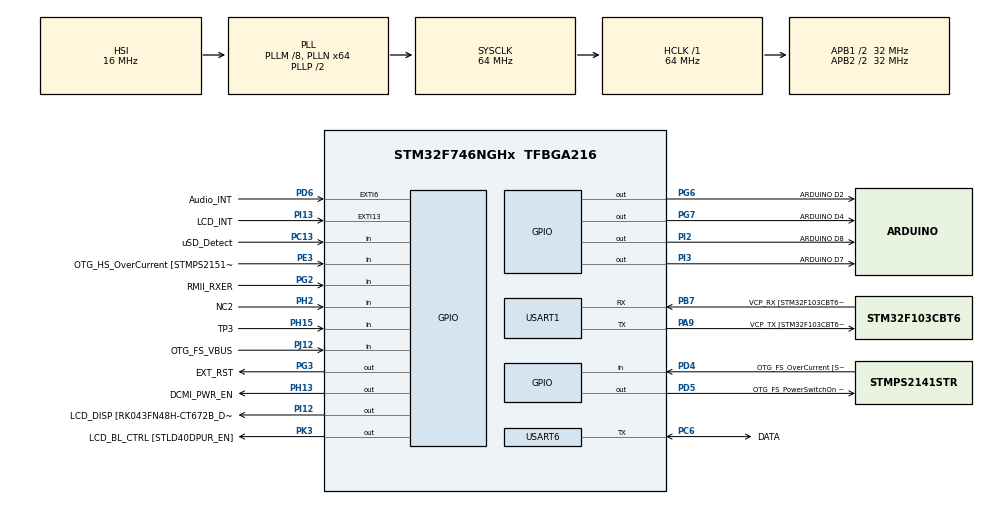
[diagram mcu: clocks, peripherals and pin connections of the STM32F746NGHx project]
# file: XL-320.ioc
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Mcu.Family=STM32F7
Mcu.Name=STM32F746NGHx
Mcu.Package=TFBGA216
NVIC.PriorityGroup=NVIC_PRIORITYGROUP_4
NVIC.USART6_IRQn=true\:0\:0\:false\:false\:true\:true\:true\:true
PA0/WKUP.GPIO_Label=ARDUINO A0
PA0/WKUP.GPIO_Mode=GPIO_MODE_ANALOG
PA0/WKUP.GPIO_PuPd=GPIO_NOPULL
PA0/WKUP.Signal=ADCx_IN0
PA1.GPIO_Label=RMII_REF_CLK [LAN8742A-CZ-TR_REFCLK0]
PA1.Signal=ETH_REF_CLK
PA10.GPIO_Label=OTG_FS_ID
PA10.Signal=USB_OTG_FS_ID
PA11.GPIO_Label=OTG_FS_N
PA11.Signal=USB_OTG_FS_DM
PA12.GPIO_Label=OTG_FS_P
PA12.Signal=USB_OTG_FS_DP
PA13.GPIO_Label=SWDIO
PA13.Mode=Serial_Wire
PA13.Signal=SYS_JTMS-SWDIO
PA14.GPIO_Label=SWCLK
PA14.Mode=Serial_Wire
PA14.Signal=SYS_JTCK-SWCLK
PA15.GPIO_Label=ARDUINO PWM/D9
PA15.GPIO_ModeDefaultPP=GPIO_MODE_AF_PP
PA15.GPIO_PuPd=GPIO_NOPULL
PA15.GPIO_Speed=GPIO_SPEED_FREQ_LOW
PA15.Signal=S_TIM2_CH1_ETR
PA2.GPIO_Label=RMII_MDIO [LAN8742A-CZ-TR_MDIO]
PA2.Signal=ETH_MDIO
PA3.GPIO_Label=ULPI_D0 [USB3320C-EZK_D0]
PA3.Signal=USB_OTG_HS_ULPI_D0
PA4.GPIO_Label=DCMI_HSYNC
PA4.Signal=DCMI_HSYNC
PA5.GPIO_Label=ULPI_CLK [USB3320C-EZK_CLKOUT]
PA5.Signal=USB_OTG_HS_ULPI_CK
PA6.Signal=DCMI_PIXCLK
PA7.GPIO_Label=RMII_CRS_DV [LAN8742A-CZ-TR_CRS_DV]
PA7.Signal=ETH_CRS_DV
PA8.GPIO_Label=ARDUINO PWM/D10
PA8.GPIO_ModeDefaultPP=GPIO_MODE_AF_PP
PA8.GPIO_PuPd=GPIO_NOPULL
PA8.GPIO_Speed=GPIO_SPEED_FREQ_LOW
PA8.Signal=S_TIM1_CH1
PA9.GPIO_Label=VCP_TX [STM32F103CBT6_PA3]
PA9.GPIO_Mode=GPIO_MODE_AF_PP
PA9.GPIO_PuPd=GPIO_NOPULL
PA9.GPIO_Speed=GPIO_SPEED_FREQ_LOW
PA9.Mode=Asynchronous
PA9.Signal=USART1_TX
PB0.GPIO_Label=ULPI_D1 [USB3320C-EZK_D1]
PB0.Signal=USB_OTG_HS_ULPI_D1
PB1.GPIO_Label=ULPI_D2 [USB3320C-EZK_D2]
PB1.Signal=USB_OTG_HS_ULPI_D2
PB10.GPIO_Label=ULPI_D3 [USB3320C-EZK_D3]
PB10.Signal=USB_OTG_HS_ULPI_D3
PB11.GPIO_Label=ULPI_D4 [USB3320C-EZK_D4]
PB11.Signal=USB_OTG_HS_ULPI_D4
PB12.GPIO_Label=ULPI_D5 [USB3320C-EZK_D5]
PB12.Signal=USB_OTG_HS_ULPI_D5
PB13.GPIO_Label=ULPI_D6 [USB3320C-EZK_D6]
PB13.Signal=USB_OTG_HS_ULPI_D6
PB14.GPIO_Label=ARDUINO MISO/D12
PB14.GPIO_Mode=GPIO_MODE_AF_PP
PB14.GPIO_PuPd=GPIO_NOPULL
PB14.GPIO_Speed=GPIO_SPEED_FREQ_LOW
PB14.Signal=SPI2_MISO
PB15.GPIO_Label=ARDUINO MOSI/PWM/D11
PB15.GPIO_Mode=GPIO_MODE_AF_PP
PB15.GPIO_PuPd=GPIO_NOPULL
PB15.GPIO_Speed=GPIO_SPEED_FREQ_LOW
PB15.Signal=SPI2_MOSI
PB2.Signal=QUADSPI_CLK
PB3.GPIO_Label=SWO
PB3.Signal=SYS_JTDO-SWO
PB4.GPIO_Label=ARDUINO PWM/D3
PB4.GPIO_ModeDefaultPP=GPIO_MODE_AF_PP
PB4.GPIO_PuPd=GPIO_NOPULL
PB4.GPIO_Speed=GPIO_SPEED_FREQ_LOW
PB4.Signal=S_TIM3_CH1
PB5.GPIO_Label=ULPI_D7 [USB3320C-EZK_D7]
PB5.Signal=USB_OTG_HS_ULPI_D7
PB6.GPIO_Label=QSPI_NCS [N25Q128A13EF840E_S]
PB6.Signal=QUADSPI_BK1_NCS
PB7.GPIO_Label=VCP_RX [STM32F103CBT6_PA2]
PB7.GPIO_Mode=GPIO_MODE_AF_PP
PB7.GPIO_PuPd=GPIO_NOPULL
PB7.GPIO_Speed=GPIO_SPEED_FREQ_LOW
PB7.Mode=Asynchronous
PB7.Signal=USART1_RX
PB8.GPIO_Label=ARDUINO SCL/D15
PB8.GPIO_Mode=GPIO_MODE_AF_OD
PB8.GPIO_PuPd=GPIO_NOPULL
PB8.GPIO_Speed=GPIO_SPEED_FREQ_LOW
PB8.Signal=I2C1_SCL
PB9.GPIO_Label=ARDUINO SDA/D14
PB9.GPIO_Mode=GPIO_MODE_AF_OD
PB9.GPIO_PuPd=GPIO_NOPULL
PB9.GPIO_Speed=GPIO_SPEED_FREQ_LOW
PB9.Signal=I2C1_SDA
PC0.GPIO_Label=ULPI_STP [USB3320C-EZK_STP]
PC0.Signal=USB_OTG_HS_ULPI_STP
PC1.GPIO_Label=RMII_MDC [LAN8742A-CZ-TR_MDC]
PC1.Signal=ETH_MDC
PC10.GPIO_Label=SDMMC_D2
PC10.Signal=SDMMC1_D2
PC11.GPIO_Label=SDMMC_D3
PC11.Signal=SDMMC1_D3
PC12.GPIO_Label=SDMMC_CK
PC12.Signal=SDMMC1_CK
PC13.GPIO_Label=uSD_Detect
PC13.Signal=GPIO_Input
PC14/OSC32_IN.GPIO_Label=RCC_OSC32_IN
PC14/OSC32_IN.Signal=RCC_OSC32_IN
PC15/OSC32_OUT.GPIO_Label=RCC_OSC32_OUT
PC15/OSC32_OUT.Signal=RCC_OSC32_OUT
PC2.GPIO_Label=ULPI_DIR [USB3320C-EZK_DIR]
PC2.Signal=USB_OTG_HS_ULPI_DIR
PC3.GPIO_Label=FMC_SDCKE0 [MT48LC4M32B2B5-6A_CKE]
PC3.Signal=FMC_SDCKE0
PC4.GPIO_Label=RMII_RXD0 [LAN8742A-CZ-TR_RXD0]
PC4.Signal=ETH_RXD0
PC5.GPIO_Label=RMII_RXD1 [LAN8742A-CZ-TR_RXD1]
PC5.Signal=ETH_RXD1
PC6.GPIO_Label=DATA
PC6.GPIO_ModeDefaultOD=GPIO_MODE_AF_PP
PC6.GPIO_PuPd=GPIO_NOPULL
PC6.Mode=Half_duplex(single_wire_mode)
PC6.Signal=USART6_TX
PC7.GPIO_Label=ARDUINO RX/D0
PC7.Signal=USART6_RX
PC8.Signal=SDMMC1_D0
PC9.Signal=SDMMC1_D1
PD0.GPIO_Label=FMC_D2 [MT48LC4M32B2B5-6A_DQ2]
PD0.Signal=FMC_D2_DA2
PD1.GPIO_Label=FMC_D3 [MT48LC4M32B2B5-6A_DQ3]
PD1.Signal=FMC_D3_DA3
PD10.GPIO_Label=FMC_D15 [MT48LC4M32B2B5-6A_DQ15]
PD10.Signal=FMC_D15_DA15
PD11.GPIO_Label=QSPI_D0 [N25Q128A13EF840E_DQ0]
PD11.Signal=QUADSPI_BK1_IO0
PD12.GPIO_Label=QSPI_D1 [N25Q128A13EF840E_DQ1]
PD12.Signal=QUADSPI_BK1_IO1
PD13.GPIO_Label=QSPI_D3 [N25Q128A13EF840E_DQ3]
PD13.Signal=QUADSPI_BK1_IO3
PD14.GPIO_Label=FMC_D0 [MT48LC4M32B2B5-6A_DQ0]
PD14.Signal=FMC_D0_DA0
PD15.GPIO_Label=FMC_D1 [MT48LC4M32B2B5-6A_DQ1]
PD15.Signal=FMC_D1_DA1
PD2.GPIO_Label=SDMMC_D0
PD2.Signal=SDMMC1_CMD
PD3.GPIO_Label=DCMI_D5
PD3.Signal=DCMI_D5
PD4.GPIO_Label=OTG_FS_OverCurrent [STMPS2141STR_Fault]
PD4.Signal=GPIO_Input
PD5.GPIO_Label=OTG_FS_PowerSwitchOn [STMPS2141STR_EN]
PD5.PinState=GPIO_PIN_SET
PD5.Signal=GPIO_Output
PD6.GPIO_Label=Audio_INT
PD6.GPIO_ModeDefaultEXTI=GPIO_MODE_EVT_RISING
PD6.Signal=GPXTI6
PD7.GPIO_Label=SPDIF_RX0 [74LVC1G04SE_4]
PD7.Signal=SPDIFRX_IN0
PD8.GPIO_Label=FMC_D13 [MT48LC4M32B2B5-6A_DQ13]
PD8.Signal=FMC_D13_DA13
PD9.GPIO_Label=FMC_D14 [MT48LC4M32B2B5-6A_DQ14]
PD9.Signal=FMC_D14_DA14
PE0.GPIO_Label=FMC_NBL0 [MT48LC4M32B2B5-6A_DQM0]
PE0.Signal=FMC_NBL0
PE1.GPIO_Label=FMC_NBL1 [MT48LC4M32B2B5-6A_DQM1]
PE1.Signal=FMC_NBL1
PE10.GPIO_Label=FMC_D7 [MT48LC4M32B2B5-6A_DQ7]
PE10.Signal=FMC_D7_DA7
PE11.GPIO_Label=FMC_D8 [MT48LC4M32B2B5-6A_DQ8]
PE11.Signal=FMC_D8_DA8
PE12.GPIO_Label=FMC_D9 [MT48LC4M32B2B5-6A_DQ9]
PE12.Signal=FMC_D9_DA9
PE13.GPIO_Label=FMC_D10 [MT48LC4M32B2B5-6A_DQ10]
PE13.Signal=FMC_D10_DA10
PE14.GPIO_Label=FMC_D11 [MT48LC4M32B2B5-6A_DQ11]
PE14.Signal=FMC_D11_DA11
PE15.GPIO_Label=FMC_D12 [MT48LC4M32B2B5-6A_DQ12]
PE15.Signal=FMC_D12_DA12
PE2.GPIO_Label=QSPI_D2 [N25Q128A13EF840E_DQ2]
PE2.Signal=QUADSPI_BK1_IO2
PE3.GPIO_Label=OTG_HS_OverCurrent [STMPS2151STR_FAULT]
PE3.Signal=GPIO_Input
PE4.GPIO_Label=LCD_B0 [RK043FN48H-CT672B_B0]
PE4.Signal=LTDC_B0
PE5.GPIO_Label=DCMI_D6
PE5.Signal=DCMI_D6
PE6.GPIO_Label=DCMI_D7
PE6.Signal=DCMI_D7
PE7.GPIO_Label=FMC_D4 [MT48LC4M32B2B5-6A_DQ4]
PE7.Signal=FMC_D4_DA4
PE8.GPIO_Label=FMC_D5 [MT48LC4M32B2B5-6A_DQ5]
PE8.Signal=FMC_D5_DA5
PE9.GPIO_Label=FMC_D6 [MT48LC4M32B2B5-6A_DQ6]
PE9.Signal=FMC_D6_DA6
PF0.GPIO_Label=FMC_A0 [MT48LC4M32B2B5-6A_A0]
PF0.Signal=FMC_A0
PF1.GPIO_Label=FMC_A1 [MT48LC4M32B2B5-6A_A1]
PF1.Signal=FMC_A1
PF10.GPIO_Label=ARDUINO A1
PF10.GPIO_Mode=GPIO_MODE_ANALOG
PF10.GPIO_PuPd=GPIO_NOPULL
PF10.Signal=ADC3_IN8
PF11.GPIO_Label=FMC_SDNRAS [MT48LC4M32B2B5-6A_RAS]
PF11.Signal=FMC_SDNRAS
PF12.GPIO_Label=FMC_A6 [MT48LC4M32B2B5-6A_A6]
PF12.Signal=FMC_A6
PF13.GPIO_Label=FMC_A7 [MT48LC4M32B2B5-6A_A7]
PF13.Signal=FMC_A7
PF14.GPIO_Label=FMC_A8 [MT48LC4M32B2B5-6A_A8]
PF14.Signal=FMC_A8
PF15.GPIO_Label=FMC_A9 [MT48LC4M32B2B5-6A_A9]
PF15.Signal=FMC_A9
PF2.GPIO_Label=FMC_A2 [MT48LC4M32B2B5-6A_A2]
PF2.Signal=FMC_A2
PF3.GPIO_Label=FMC_A3 [MT48LC4M32B2B5-6A_A3]
PF3.Signal=FMC_A3
PF4.GPIO_Label=FMC_A4 [MT48LC4M32B2B5-6A_A4]
PF4.Signal=FMC_A4
PF5.GPIO_Label=FMC_A5 [MT48LC4M32B2B5-6A_A5]
PF5.Signal=FMC_A5
PF6.GPIO_Label=ARDUINO A5
PF6.GPIO_Mode=GPIO_MODE_ANALOG
PF6.GPIO_PuPd=GPIO_NOPULL
PF6.Signal=ADC3_IN4
PF7.GPIO_Label=ARDUINO A4
PF7.GPIO_Mode=GPIO_MODE_ANALOG
PF7.GPIO_PuPd=GPIO_NOPULL
PF7.Signal=ADC3_IN5
PF8.GPIO_Label=ARDUINO A3
PF8.GPIO_Mode=GPIO_MODE_ANALOG
PF8.GPIO_PuPd=GPIO_NOPULL
PF8.Signal=ADC3_IN6
PF9.GPIO_Label=ARDUINO A2
PF9.GPIO_Mode=GPIO_MODE_ANALOG
PF9.GPIO_PuPd=GPIO_NOPULL
PF9.Signal=ADC3_IN7
PG0.GPIO_Label=FMC_A10 [MT48LC4M32B2B5-6A_A10]
PG0.Signal=FMC_A10
PG1.GPIO_Label=FMC_A11 [MT48LC4M32B2B5-6A_A11]
PG1.Signal=FMC_A11
PG10.GPIO_Label=SAI2_SDB [WM8994ECS/R_ADCDAT1]
PG10.Signal=SAI2_SD_B
PG11.GPIO_Label=RMII_TX_EN [LAN8742A-CZ-TR_TXEN]
PG11.Signal=ETH_TX_EN
PG12.GPIO_Label=LCD_B4 [RK043FN48H-CT672B_B4]
PG12.Signal=LTDC_B4
PG13.GPIO_Label=RMII_TXD0 [LAN8742A-CZ-TR_TXD0]
PG13.Signal=ETH_TXD0
PG14.GPIO_Label=RMII_TXD1 [LAN8742A-CZ-TR_TXD1]
PG14.Signal=ETH_TXD1
PG15.GPIO_Label=FMC_SDNCAS [MT48LC4M32B2B5-6A_CAS]
PG15.Signal=FMC_SDNCAS
PG2.GPIO_Label=RMII_RXER
PG2.Signal=GPIO_Input
PG3.GPIO_Label=EXT_RST
PG3.Signal=GPIO_Output
PG4.GPIO_Label=FMC_BA0 [MT48LC4M32B2B5-6A_BA0]
PG4.Signal=FMC_A14_BA0
PG5.GPIO_Label=FMC_BA1 [MT48LC4M32B2B5-6A_BA1]
PG5.Signal=FMC_A15_BA1
PG6.GPIO_Label=ARDUINO D2
PG6.Signal=GPIO_Output
PG7.GPIO_Label=ARDUINO D4
PG7.Signal=GPIO_Output
PG8.GPIO_Label=FMC_SDCLK [MT48LC4M32B2B5-6A_CLK]
PG8.Signal=FMC_SDCLK
PG9.GPIO_Label=DCMI_VSYNC
PG9.Signal=DCMI_VSYNC
PH0/OSC_IN.GPIO_Label=OSC_25M [NZ2520SB-25.00M_OUT]
PH0/OSC_IN.Mode=HSE-External-Oscillator
PH0/OSC_IN.Signal=RCC_OSC_IN
PH1/OSC_OUT.Mode=HSE-External-Oscillator
PH1/OSC_OUT.Signal=RCC_OSC_OUT
PH10.GPIO_Label=DCMI_D1
PH10.Signal=DCMI_D1
PH11.GPIO_Label=DCMI_D2
PH11.Signal=DCMI_D2
PH12.GPIO_Label=DCMI_D3
PH12.Signal=DCMI_D3
PH13.GPIO_Label=DCMI_PWR_EN
PH13.Signal=GPIO_Output
PH14.GPIO_Label=DCMI_D4
PH14.Signal=DCMI_D4
PH15.GPIO_Label=TP3
PH15.Signal=GPIO_Input
PH2.GPIO_Label=NC2
PH2.Signal=GPIO_Input
PH3.GPIO_Label=FMC_SDNE0 [MT48LC4M32B2B5-6A_CS]
PH3.Signal=FMC_SDNE0
PH4.GPIO_Label=ULPI_NXT [USB3320C-EZK_NXT]
PH4.Signal=USB_OTG_HS_ULPI_NXT
PH5.GPIO_Label=FMC_SDNME [MT48LC4M32B2B5-6A_WE]
PH5.Signal=FMC_SDNWE
PH6.GPIO_Label=ARDUINO PWM/D6
PH6.Signal=S_TIM12_CH1
PH7.GPIO_Label=LCD_SCL [RK043FN48H-CT672B_SCL]
PH7.Signal=I2C3_SCL
PH8.GPIO_Label=LCD_SDA [RK043FN48H-CT672B_SDA]
PH8.Signal=I2C3_SDA
PH9.GPIO_Label=DCMI_D0
PH9.Signal=DCMI_D0
PI0.GPIO_Label=ARDUINO PWM/CS/D5
PI0.GPIO_ModeDefaultPP=GPIO_MODE_AF_PP
PI0.GPIO_PuPd=GPIO_NOPULL
PI0.GPIO_Speed=GPIO_SPEED_FREQ_LOW
PI0.Signal=S_TIM5_CH4
PI1.GPIO_Label=ARDUINO SCK/D13
PI1.GPIO_Mode=GPIO_MODE_AF_PP
PI1.GPIO_PuPd=GPIO_NOPULL
PI1.GPIO_Speed=GPIO_SPEED_FREQ_LOW
PI1.Signal=SPI2_SCK
PI10.GPIO_Label=LCD_HSYNC [RK043FN48H-CT672B_HSYNC]
PI10.Signal=LTDC_HSYNC
PI12.GPIO_Label=LCD_DISP [RK043FN48H-CT672B_DISP] 
PI12.Signal=GPIO_Output
PI13.GPIO_Label=LCD_INT
PI13.GPIO_ModeDefaultEXTI=GPIO_MODE_EVT_RISING
PI13.Signal=GPXTI13
PI14.GPIO_Label=LCD_CLK [RK043FN48H-CT672B_CLK]
PI14.Signal=LTDC_CLK
PI15.GPIO_Label=LCD_R0 [RK043FN48H-CT672B_R0]
PI15.Signal=LTDC_R0
PI2.GPIO_Label=ARDUINO D8
PI2.Signal=GPIO_Output
PI3.GPIO_Label=ARDUINO D7
PI3.Signal=GPIO_Output
PI4.GPIO_Label=SAI2_MCLKA [WM8994ECS/R_MCLK1]
PI4.Signal=SAI2_MCLK_A
PI5.GPIO_Label=SAI2_SCKA [WM8994ECS/R_BCLK1]
PI5.Signal=SAI2_SCK_A
PI6.GPIO_Label=SAI2_SDA [WM8994ECS/R_DACDAT1]
PI6.Signal=SAI2_SD_A
PI7.GPIO_Label=SAI2_FSA [WM8994ECS/R_LRCLK1]
PI7.Signal=SAI2_FS_A
PI8.GPIO_Label=NC1 [TP2]
PI8.Signal=RTC_TS
PI9.GPIO_Label=LCD_VSYNC [RK043FN48H-CT672B_VSYNC]
PI9.Signal=LTDC_VSYNC
PJ0.GPIO_Label=LCD_R1 [RK043FN48H-CT672B_R1]
PJ0.Signal=LTDC_R1
PJ1.GPIO_Label=LCD_R2 [RK043FN48H-CT672B_R2]
PJ1.Signal=LTDC_R2
PJ10.GPIO_Label=LCD_G3 [RK043FN48H-CT672B_G3]
PJ10.Signal=LTDC_G3
PJ11.GPIO_Label=LCD_G4 [RK043FN48H-CT672B_G4]
PJ11.Signal=LTDC_G4
PJ12.GPIO_Label=OTG_FS_VBUS
PJ12.Signal=GPIO_Input
PJ13.GPIO_Label=LCD_B1 [RK043FN48H-CT672B_B1]
PJ13.Signal=LTDC_B1
PJ14.GPIO_Label=LCD_B2 [RK043FN48H-CT672B_B2]
PJ14.Signal=LTDC_B2
PJ15.GPIO_Label=LCD_B3 [RK043FN48H-CT672B_B3]
PJ15.Signal=LTDC_B3
PJ2.GPIO_Label=LCD_R3 [RK043FN48H-CT672B_R3]
PJ2.Signal=LTDC_R3
PJ3.GPIO_Label=LCD_R4 [RK043FN48H-CT672B_R4]
PJ3.Signal=LTDC_R4
PJ4.GPIO_Label=LCD_R5 [RK043FN48H-CT672B_R5]
PJ4.Signal=LTDC_R5
PJ5.GPIO_Label=LCD_R6 [RK043FN48H-CT672B_R6]
PJ5.Signal=LTDC_R6
PJ6.GPIO_Label=LCD_R7 [RK043FN48H-CT672B_R7]
PJ6.Signal=LTDC_R7
PJ7.GPIO_Label=LCD_G0 [RK043FN48H-CT672B_G0]
PJ7.Signal=LTDC_G0
PJ8.GPIO_Label=LCD_G1 [RK043FN48H-CT672B_G1]
PJ8.Signal=LTDC_G1
PJ9.GPIO_Label=LCD_G2 [RK043FN48H-CT672B_G2]
PJ9.Signal=LTDC_G2
PK0.GPIO_Label=LCD_G5 [RK043FN48H-CT672B_G5]
PK0.Signal=LTDC_G5
PK1.GPIO_Label=LCD_G6 [RK043FN48H-CT672B_G6]
PK1.Signal=LTDC_G6
PK2.GPIO_Label=LCD_G7 [RK043FN48H-CT672B_G7]
PK2.Signal=LTDC_G7
PK3.GPIO_Label=LCD_BL_CTRL [STLD40DPUR_EN]
PK3.Signal=GPIO_Output
PK4.GPIO_Label=LCD_B5 [RK043FN48H-CT672B_B5]
PK4.Signal=LTDC_B5
PK5.GPIO_Label=LCD_B6 [RK043FN48H-CT672B_B6]
PK5.Signal=LTDC_B6
PK6.GPIO_Label=LCD_B7 [RK043FN48H-CT672B_B7]
PK6.Signal=LTDC_B7
PK7.GPIO_Label=LCD_DE [RK043FN48H-CT672B_DE]
PK7.Signal=LTDC_DE
ProjectManager.HeapSize=0x200
ProjectManager.StackSize=0x400
ProjectManager.TargetToolchain=STM32CubeIDE
RCC.AHBFreq_Value=64000000
RCC.APB1CLKDivider=RCC_HCLK_DIV2
RCC.APB1Freq_Value=32000000
RCC.APB1TimFreq_Value=64000000
RCC.APB2CLKDivider=RCC_HCLK_DIV2
RCC.APB2Freq_Value=32000000
RCC.APB2TimFreq_Value=64000000
RCC.CortexFreq_Value=64000000
RCC.HCLKFreq_Value=64000000
RCC.HSE_VALUE=25000000
RCC.HSI_VALUE=16000000
RCC.LSE_VALUE=32768
RCC.PLLM=8
RCC.PLLN=64
RCC.PLLSourceVirtual=RCC_PLLSOURCE_HSI
RCC.SYSCLKFreq_VALUE=64000000
RCC.SYSCLKSource=RCC_SYSCLKSOURCE_PLLCLK
RCC.USBFreq_Value=64000000
RCC.VCOOutputFreq_Value=128000000
SH.ADCx_IN0.0=ADC3_IN0
SH.FMC_A0.0=FMC_A0
SH.FMC_A1.0=FMC_A1
SH.FMC_A10.0=FMC_A10
SH.FMC_A11.0=FMC_A11
SH.FMC_A14_BA0.0=FMC_BA0
SH.FMC_A15_BA1.0=FMC_BA1
SH.FMC_A2.0=FMC_A2
SH.FMC_A3.0=FMC_A3
SH.FMC_A4.0=FMC_A4
SH.FMC_A5.0=FMC_A5
SH.FMC_A6.0=FMC_A6
SH.FMC_A7.0=FMC_A7
SH.FMC_A8.0=FMC_A8
SH.FMC_A9.0=FMC_A9
SH.FMC_D0_DA0.0=FMC_D0
SH.FMC_D10_DA10.0=FMC_D10
SH.FMC_D11_DA11.0=FMC_D11
SH.FMC_D12_DA12.0=FMC_D12
SH.FMC_D13_DA13.0=FMC_D13
SH.FMC_D14_DA14.0=FMC_D14
SH.FMC_D15_DA15.0=FMC_D15
SH.FMC_D1_DA1.0=FMC_D1
SH.FMC_D2_DA2.0=FMC_D2
SH.FMC_D3_DA3.0=FMC_D3
SH.FMC_D4_DA4.0=FMC_D4
SH.FMC_D5_DA5.0=FMC_D5
SH.FMC_D6_DA6.0=FMC_D6
SH.FMC_D7_DA7.0=FMC_D7
SH.FMC_D8_DA8.0=FMC_D8
SH.FMC_D9_DA9.0=FMC_D9
SH.FMC_NBL0.0=FMC_NBL0
SH.FMC_NBL1.0=FMC_NBL1
SH.FMC_SDCLK.0=FMC_SDCLK
SH.FMC_SDNCAS.0=FMC_SDNCAS
SH.FMC_SDNRAS.0=FMC_SDNRAS
SH.FMC_SDNWE.0=FMC_SDNWE
SH.S_TIM12_CH1.0=TIM12_CH1
SH.S_TIM1_CH1.0=TIM1_CH1
SH.S_TIM2_CH1_ETR.0=TIM2_CH1
SH.S_TIM3_CH1.0=TIM3_CH1
SH.S_TIM5_CH4.0=TIM5_CH4
USART1.VirtualMode-Asynchronous=VM_ASYNC
USART6.BaudRate=1000000
USART6.VirtualMode-Half_duplex(single_wire_mode)=VM_ASYNC
board=STM32F746G-DISCO

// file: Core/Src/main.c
/* USER CODE BEGIN Header */
/**
 ******************************************************************************
 * @file           : main.c
 * @brief          : Main program body
 ******************************************************************************
 * @attention
 *
 * Copyright (c) 2022 STMicroelectronics.
 * All rights reserved.
 *
 * This software is licensed under terms that can be found in the LICENSE file
 * in the root directory of this software component.
 * If no LICENSE file comes with this software, it is provided AS-IS.
 *
 ******************************************************************************
 */
/* USER CODE END Header */
#include "main.h"
#include "usart.h"
#include "gpio.h"

/* USER CODE BEGIN Includes */
#include "XL_320.h"
/* USER CODE END Includes */

/* USER CODE BEGIN PV */
uint8_t buffer[BUFFER_LENGTH] = {0};
uint16_t buffer_index = 0;
uint8_t Rx_char;
uint8_t Message[64];
uint8_t MessageLen;
extern uint8_t RxBuffer[BUFFER_LENGTH];
int error_number=0;
int callback_number=0;
uint8_t Receive_length=0;
/* USER CODE END PV */

void SystemClock_Config(void);

int main(void)
{

	/* MCU Configuration--------------------------------------------------------*/

	/* Reset of all peripherals, Initializes the Flash interface and the Systick. */
	HAL_Init();

	/* Configure the system clock */
	SystemClock_Config();

	/* Initialize all configured peripherals */
	MX_GPIO_Init();
	MX_USART1_UART_Init();
	MX_USART6_UART_Init();
	/* USER CODE BEGIN 2 */

	uint16_t model_number=0;
	uint8_t firmware_version=0;
	//XL_320_set_torque_enable(0x01, 0);

	if(XL_320_ping(0x01,&model_number,&firmware_version)==1)
	{
		MessageLen = sprintf ((char *) Message, "model_number= 0x%04x \r\n", model_number);
		HAL_UART_Transmit (&huart1, Message, MessageLen, 100);
		MessageLen = sprintf ((char *) Message, "firmware_version= 0x%04x \r\n", firmware_version);
		HAL_UART_Transmit (&huart1, Message, MessageLen, 100);
	}

	//XL_320_set_torque_enable(0x01, 0);
	//XL_320_set_baudrate(0x01, Br_115200);
	XL_320_set_torque_enable(0x01, 1);
	HAL_Delay(100);
	XL_320_set_speed_position(0x01, 300);
	HAL_Delay(100);
	int position;

	/* USER CODE END 2 */

	/* Infinite loop */
	/* USER CODE BEGIN WHILE */
	while (1)00
	{

		XL_320_set_goal_position(0x01, 0);
		HAL_Delay(2000);
		position=XL_320_read_present_position(0x01);
		printf("Current position is %d \r\n",position);
		HAL_Delay(100);
		XL_320_set_goal_position(0x01, 512);
		HAL_Delay(2000);
		position=XL_320_read_present_position(0x01);
		printf("Current position is %d \r\n",position);
		HAL_Delay(100);

		/* USER CODE END WHILE */

	}
}

void SystemClock_Config(void)
{
	RCC_OscInitTypeDef RCC_OscInitStruct = {0};
	RCC_ClkInitTypeDef RCC_ClkInitStruct = {0};

	/** Configure the main internal regulator output voltage
	 */
	__HAL_RCC_PWR_CLK_ENABLE();
	__HAL_PWR_VOLTAGESCALING_CONFIG(PWR_REGULATOR_VOLTAGE_SCALE3);
	/** Initializes the RCC Oscillators according to the specified parameters
	 * in the RCC_OscInitTypeDef structure.
	 */
	RCC_OscInitStruct.OscillatorType = RCC_OSCILLATORTYPE_HSI;
	RCC_OscInitStruct.HSIState = RCC_HSI_ON;
	RCC_OscInitStruct.HSICalibrationValue = RCC_HSICALIBRATION_DEFAULT;
	RCC_OscInitStruct.PLL.PLLState = RCC_PLL_ON;
	RCC_OscInitStruct.PLL.PLLSource = RCC_PLLSOURCE_HSI;
	RCC_OscInitStruct.PLL.PLLM = 8;
	RCC_OscInitStruct.PLL.PLLN = 64;
	RCC_OscInitStruct.PLL.PLLP = RCC_PLLP_DIV2;
	RCC_OscInitStruct.PLL.PLLQ = 2;
	if (HAL_RCC_OscConfig(&RCC_OscInitStruct) != HAL_OK)
	{
		Error_Handler();
	}
	/** Initializes the CPU, AHB and APB buses clocks
	 */
	RCC_ClkInitStruct.ClockType = RCC_CLOCKTYPE_HCLK|RCC_CLOCKTYPE_SYSCLK
			|RCC_CLOCKTYPE_PCLK1|RCC_CLOCKTYPE_PCLK2;
	RCC_ClkInitStruct.SYSCLKSource = RCC_SYSCLKSOURCE_PLLCLK;
	RCC_ClkInitStruct.AHBCLKDivider = RCC_SYSCLK_DIV1;
	RCC_ClkInitStruct.APB1CLKDivider = RCC_HCLK_DIV2;
	RCC_ClkInitStruct.APB2CLKDivider = RCC_HCLK_DIV2;

	if (HAL_RCC_ClockConfig(&RCC_ClkInitStruct, FLASH_LATENCY_2) != HAL_OK)
	{
		Error_Handler();
	}
}

/* USER CODE BEGIN 4 */

void HAL_UART_RxCpltCallback(UART_HandleTypeDef *huart)
{
	//callback_number++;
	//XL_320_receive_callback(Rx_char);
	buffer_index=Receive_length;

}
void HAL_UART_ErrorCallback(UART_HandleTypeDef *huart)
{
	error_number++;
	//HAL_UART_Receive_IT(&huart6, &Rx_char, 1);
}

/* USER CODE END 4 */

void Error_Handler(void)
{
	__disable_irq();
	while (1)
	{
	}
}
